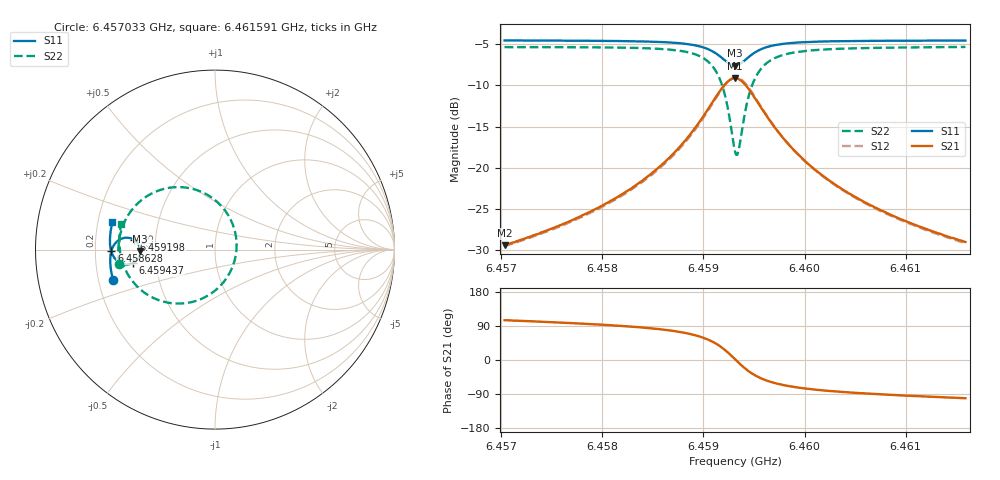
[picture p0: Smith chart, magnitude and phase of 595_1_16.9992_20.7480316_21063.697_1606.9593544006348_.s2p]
#  HZ  S  RI  R  50.00
! Rohde & Schwarz Vector Network Analyzer
! Rohde-Schwarz,ZNB20-2Port,1311601062101988,3.16
! Created: UTC 3/20/2024, 11:18:47 PM
! freq[Hz]  re:S11  im:S11  re:S21  im:S21  re:S12  im:S12  re:S22  im:S22
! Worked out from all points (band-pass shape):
!   401 points, 6.457033 GHz to 6.461591 GHz, reference 50 ohm
!   highest |S21| = -9.13 dB at 6.459312 GHz (marker M1); lowest = -29.4 dB at 6.457033 GHz (marker M2)
!   |S21| within 3 dB of the highest: 6.459084 GHz to 6.45954 GHz (455.7 kHz wide, 0.00706 % of centre)
!   lowest |S11| = -7.6 dB at 6.459312 GHz (marker M3), VSWR 2.43, Z = 20.6 - j0.409 ohm
!   |S11| at or under -10 dB: nowhere
!   |S22| runs from -18.4 to -5.3 dB; largest |S21 - S12| = 0.014
!   S11 on the Smith chart (normalised r, x): 6.457033 GHz: 0.26, -0.14; 6.458628 GHz: 0.27, -0.01; 6.459198 GHz: 0.37, +0.05; 6.459437 GHz: 0.37, -0.07; 6.461591 GHz: 0.26, +0.12
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6.4570331e9  -0.5679 -0.1679  -0.0087 0.0328  -0.00695 0.0328  -0.5338 -0.0798
6.4577965e9  -0.5813 -0.1009  -0.00542 0.0511  -0.00271 0.0503  -0.5383 0.0104
6.4581839e9  -0.5839 -0.0622  0.000109 0.0685  0.00324 0.0672  -0.5309 0.0714
6.4585599e9  -0.5798 -0.0173  0.0149 0.0996  0.019 0.0969  -0.5034 0.1558
6.4586282e9  -0.5775 -0.00786  0.0204 0.1082  0.0245 0.1048  -0.4931 0.176
6.4588219e9  -0.5646 0.0226  0.0474 0.1394  0.0515 0.1343  -0.4425 0.2455
6.45897e9  -0.5416 0.0488  0.0931 0.1698  0.0963 0.163  -0.3577 0.3099
6.4591068e9  -0.4973 0.0662  0.1811 0.1861  0.1821 0.1788  -0.1966 0.3482
6.4591979e9  -0.4524 0.0558  0.2719 0.1544  0.2722 0.1485  -0.0283 0.2966
6.4592663e9  -0.423 0.0232  0.3328 0.0817  0.3352 0.0761  0.0882 0.165
6.4593118e9  -0.4162 -0.0082  0.3492 0.0127  0.3531 0.00588  0.1205 0.0361
6.459346e9  -0.4203 -0.0322  0.3433 -0.0403  0.3473 -0.0494  0.1084 -0.0648
6.4593916e9  -0.436 -0.0586  0.3142 -0.1007  0.3164 -0.1129  0.0494 -0.1793
6.4594372e9  -0.4584 -0.0751  0.2715 -0.1422  0.2706 -0.1557  -0.0373 -0.2549
6.4594828e9  -0.4815 -0.0819  0.2262 -0.1647  0.2223 -0.1779  -0.1281 -0.2919
6.4595283e9  -0.5023 -0.0819  0.1854 -0.1732  0.1792 -0.1851  -0.2088 -0.3007
6.4596764e9  -0.5466 -0.0613  0.0968 -0.1588  0.0879 -0.1651  -0.3785 -0.2499
6.459836e9  -0.5682 -0.0335  0.0513 -0.1304  0.0436 -0.1332  -0.4594 -0.1765
6.4600752e9  -0.581 0.002  0.022 -0.0983  0.0161 -0.0989  -0.5076 -0.093
6.460417e9  -0.5855 0.0429  0.00618 -0.0711  0.00192 -0.0707  -0.5288 -0.0134
6.4608386e9  -0.5835 0.0855  -0.00158 -0.0523  -0.00459 -0.0515  -0.533 0.055
6.4615906e9  -0.5712 0.1522  -0.00675 -0.0349  -0.0084 -0.0339  -0.5213 0.1445
